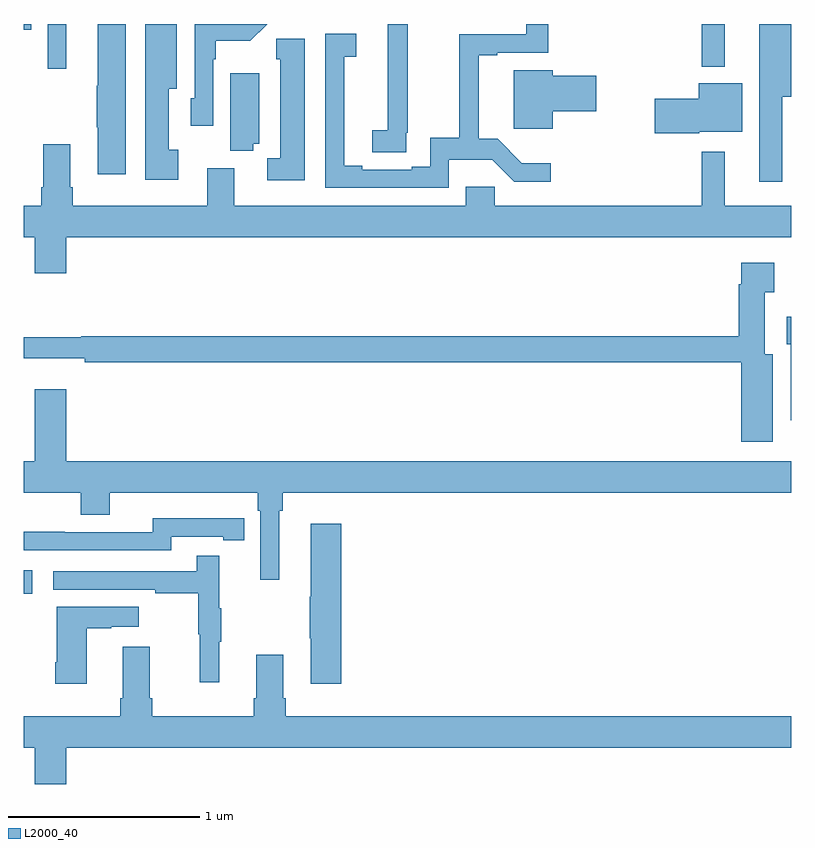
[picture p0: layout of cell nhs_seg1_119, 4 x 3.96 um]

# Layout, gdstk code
import gdstk
lib = gdstk.Library(unit=1e-6, precision=1e-09)
def R(c, l, rs):  # rectangles x0, y0, x1, y1
    for r in rs: c.add(gdstk.rectangle(r[:2], r[2:], *l))
def P(c, l, *ps):  # polygons
    for p in ps: c.add(gdstk.Polygon(p, *l))
L2000_40 = (2000, 40)

nhs_seg1_119 = lib.new_cell('nhs_seg1_119')
R(nhs_seg1_119, L2000_40, [(117,527.229,117.043,527.35), (117.123,529.965,117.22,530.199), (120.534,529.976,120.655,530.199), (117,530.17,117.038,530.199)])
P(nhs_seg1_119, L2000_40, [(119.214,529.49),(119.443,529.49),(119.556,529.377),(119.746,529.377),(119.746,529.474),(119.597,529.474),(119.471,529.6),(119.372,529.6),(119.372,530.037),(119.467,530.037),(119.467,530.049),(119.735,530.049),(119.735,530.199),(119.618,530.199),(119.618,530.145),(119.269,530.145),(119.269,529.607),(119.118,529.607),(119.118,529.454),(119.021,529.454),(119.021,529.44),(118.765,529.44),(118.765,529.46),(118.669,529.46),(118.669,529.723),(118.671,529.723),(118.671,530.027),(118.732,530.027),(118.732,530.147),(118.572,530.147),(118.572,529.344),(119.214,529.344)],
  [(117.805,529.542),(117.754,529.542),(117.754,529.862),(117.796,529.862),(117.796,530.199),(117.632,530.199),(117.632,529.386),(117.805,529.386)],
  [(120.955,529.82),(121,529.82),(121,530.199),(120.833,530.199),(120.833,529.377),(120.955,529.377)],
  [(117.987,530.015),(118,530.015),(118,530.111),(118.181,530.111),(118.269,530.199),(117.891,530.199),(117.891,529.812),(117.87,529.812),(117.87,529.668),(117.987,529.668)],
  [(118.994,529.633),(119,529.633),(119,530.199),(118.898,530.199),(118.898,529.929),(118.897,529.929),(118.897,529.646),(118.815,529.646),(118.815,529.531),(118.994,529.531)],
  [(117.532,530.199),(117.386,530.199),(117.386,529.877),(117.379,529.877),(117.379,529.66),(117.386,529.66),(117.386,529.416),(117.532,529.416)],
  [(118.465,530.122),(118.315,530.122),(118.315,530.016),(118.337,530.016),(118.337,529.5),(118.269,529.5),(118.269,529.385),(118.465,529.385)],
  [(119.758,529.745),(119.983,529.745),(119.983,529.928),(119.758,529.928),(119.758,529.957),(119.555,529.957),(119.555,529.652),(119.758,529.652)],
  [(118.196,529.574),(118.228,529.574),(118.228,529.942),(118.076,529.942),(118.076,529.537),(118.196,529.537)],
  [(120.522,529.637),(120.745,529.637),(120.745,529.891),(120.518,529.891),(120.518,529.808),(120.288,529.808),(120.288,529.63),(120.522,529.63)],
  [(117.22,529.088),(121,529.088),(121,529.252),(120.655,529.252),(120.655,529.534),(120.534,529.534),(120.534,529.252),(119.455,529.252),(119.455,529.35),(119.303,529.35),(119.303,529.252),(118.096,529.252),(118.096,529.447),(117.956,529.447),(117.956,529.252),(117.254,529.252),(117.254,529.348),(117.241,529.348),(117.241,529.573),(117.101,529.573),(117.101,529.348),(117.089,529.348),(117.089,529.252),(117,529.252),(117,529.088),(117.056,529.088),(117.056,528.9),(117.22,528.9)],
  [(120.904,528.478),(120.862,528.478),(120.862,528.799),(120.913,528.799),(120.913,528.955),(120.74,528.955),(120.74,528.842),(120.728,528.842),(120.728,528.572),(117.299,528.572),(117.299,528.565),(117,528.565),(117,528.455),(117.316,528.455),(117.316,528.436),(120.74,528.436),(120.74,528.021),(120.904,528.021)],
  [(121,528.673),(120.978,528.673),(120.978,528.528),(120.999,528.528),(120.999,528.132),(121,528.132)],
  [(118.33,527.66),(118.349,527.66),(118.349,527.756),(121,527.756),(121,527.92),(117.22,527.92),(117.22,528.295),(117.056,528.295),(117.056,527.92),(117,527.92),(117,527.756),(117.296,527.756),(117.296,527.639),(117.448,527.639),(117.448,527.756),(118.22,527.756),(118.22,527.66),(118.233,527.66),(118.233,527.301),(118.33,527.301)],
  [(117.768,527.526),(118.04,527.526),(118.04,527.506),(118.148,527.506),(118.148,527.622),(118.04,527.622),(118.04,527.623),(117.672,527.623),(117.672,527.55),(117.212,527.55),(117.212,527.552),(117,527.552),(117,527.454),(117.768,527.454)],
  [(118.655,527.593),(118.496,527.593),(118.496,527.213),(118.489,527.213),(118.489,526.996),(118.496,526.996),(118.496,526.758),(118.655,526.758)],
  [(118.019,526.979),(118.03,526.979),(118.03,527.153),(118.019,527.153),(118.019,527.425),(117.901,527.425),(117.901,527.346),(117.153,527.346),(117.153,527.25),(117.685,527.25),(117.685,527.23),(117.909,527.23),(117.909,527.016),(117.916,527.016),(117.916,526.767),(118.019,526.767)],
  [(117.328,527.047),(117.455,527.047),(117.455,527.057),(117.598,527.057),(117.598,527.161),(117.17,527.161),(117.17,526.87),(117.163,526.87),(117.163,526.758),(117.328,526.758)],
  [(117.22,526.424),(121,526.424),(121,526.588),(118.364,526.588),(118.364,526.684),(118.351,526.684),(118.351,526.909),(118.211,526.909),(118.211,526.684),(118.199,526.684),(118.199,526.588),(117.668,526.588),(117.668,526.684),(117.655,526.684),(117.655,526.951),(117.515,526.951),(117.515,526.684),(117.503,526.684),(117.503,526.588),(117,526.588),(117,526.424),(117.056,526.424),(117.056,526.236),(117.22,526.236)])

lib.write_gds('nhs_seg1_119.gds')
